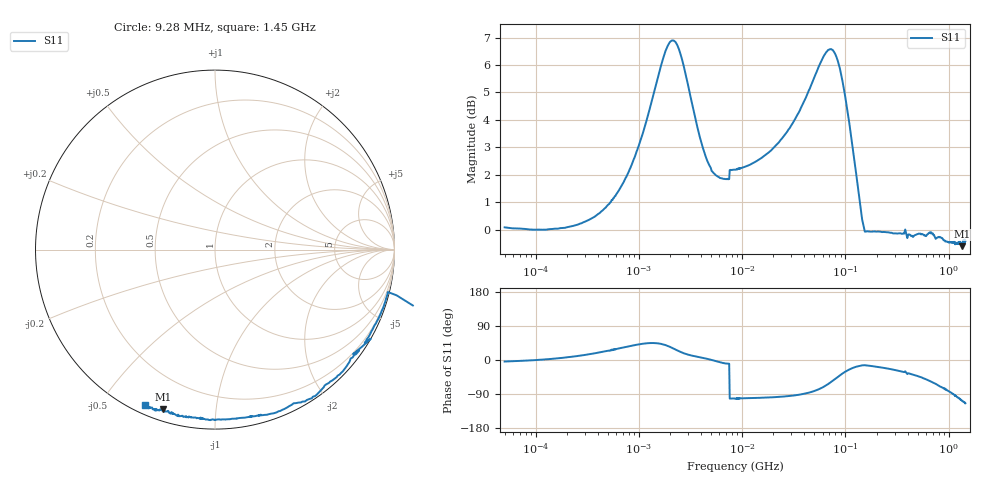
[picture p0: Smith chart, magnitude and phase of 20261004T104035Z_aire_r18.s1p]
! piloto_corto / aire / r18
# HZ S RI R 50
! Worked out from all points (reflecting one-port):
!   501 points, 50 kHz to 1.45 GHz, reference 50 ohm
!   lowest |S11| = -0.6 dB at 1.351 GHz (marker M1), VSWR 28.69, Z = 2.66 - j36.3 ohm
!   phase of S11 starts at -4 deg and turns -110 deg over the sweep
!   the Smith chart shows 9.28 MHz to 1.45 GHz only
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50000  1.007 -0.071
183000  1.002 0.1013
658000  1.017 0.6175
1180000  1.134 1.095
1630000  1.461 1.345
1990000  1.804 1.254
2440000  1.96 0.8393
3430000  1.6 0.2895
4870000  1.304 0.0302
7300000  1.217 -0.2105
7750000  -0.2599 -1.258
8560000  -0.2758 -1.256
1.81e7  -0.2121 -1.367
3.16e7  -0.1009 -1.572
4.78e7  0.2088 -1.847
6.58e7  0.8575 -1.928
7.57e7  1.239 -1.724
8.83e7  1.495 -1.277
9.82e7  1.505 -0.9356
1e8  1.494 -0.8838
1.18e8  1.309 -0.4989
1.36e8  1.102 -0.3113
1.63e8  0.9611 -0.2489
4.06e8  0.803 -0.5612
6.85e8  0.5271 -0.8317
1.036e9  0.0832 -0.945
1.351e9  -0.2876 -0.8872
1.45e9  -0.3927 -0.868
